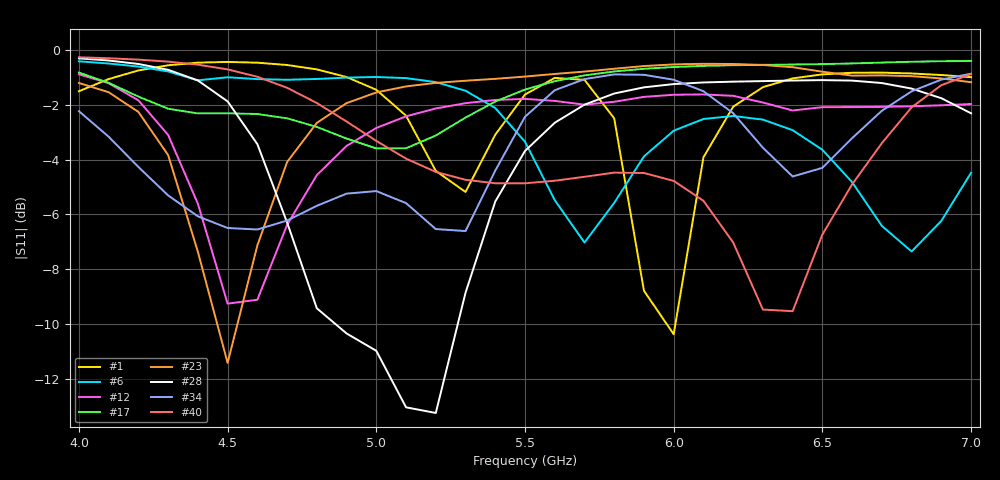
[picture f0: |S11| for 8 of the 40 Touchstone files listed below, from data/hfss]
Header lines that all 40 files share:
! Touchstone file exported from HFSS 2024.2.0
!  File:  C:/Users/wsak9/Desktop/Sim Fast/Widenad Patch/WP_AI_V1_sweep.aedt
!  Design:  A1_model
!  Project:  WP_AI_V1_sweep
!  Setup:  Setup1
!  Solution:  Sweep
! Variables:
!Data is not renormalized
# GHz S MA
! Terminal data exported
! Port[1] = 1
Fixed: Curve_len1 = 1, H_sub = 0.79mm
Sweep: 4 GHz to 7 GHz
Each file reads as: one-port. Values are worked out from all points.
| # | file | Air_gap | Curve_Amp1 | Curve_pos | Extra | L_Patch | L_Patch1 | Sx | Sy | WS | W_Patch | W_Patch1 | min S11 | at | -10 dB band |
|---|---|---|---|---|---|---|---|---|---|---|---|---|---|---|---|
| 1 | run_0400.s1p | 4.28mm | 3.7 | 10.655mm | 7.95mm | 17.31mm | 21.82mm | 1.85mm | 2.02mm | 0.65mm | 10.49mm | 13.87mm | -10.4 dB | 6 GHz | 29.96 MHz wide |
| 2 | run_0401.s1p | 4.55mm | 1.96 | 10.075mm | 5.61mm | 16.15mm | 22.6mm | 0.21mm | 4.82mm | 1.16mm | 10.58mm | 16.99mm | -5.1 dB | 6.7 GHz | - |
| 3 | run_0402.s1p | 4.89mm | 3.63 | 9.765mm | 3.64mm | 15.53mm | 18.93mm | 4.39mm | 1.09mm | 0.66mm | 14.76mm | 15.29mm | -22.0 dB | 6.3 GHz | 126.6 MHz wide |
| 4 | run_0403.s1p | 3.5mm | 2.92 | 13.34mm | 2.49mm | 22.68mm | 15.3mm | 1.49mm | 0.68mm | 1.29mm | 14.07mm | 12.81mm | -11.0 dB | 4.2 GHz | 60.45 MHz wide |
| 5 | run_0404.s1p | 2.01mm | 2.82 | 10.82mm | 7.4mm | 17.64mm | 17.67mm | 4.07mm | 3.26mm | 1.24mm | 12.2mm | 10.27mm | -14.2 dB | 5.3 GHz | 323.6 MHz wide |
| 6 | run_0405.s1p | 2.99mm | 2.9 | 10.035mm | 0.69mm | 16.07mm | 10.41mm | 2.39mm | 1.05mm | 1.13mm | 22mm | 9.72mm | -7.4 dB | 6.8 GHz | - |
| 7 | run_0406.s1p | 4.58mm | 0.92 | 11.82mm | 1.58mm | 19.64mm | 18.34mm | 3.25mm | 2.51mm | 0.82mm | 18.11mm | 16.76mm | -9.7 dB | 5 GHz | - |
| 8 | run_0407.s1p | 4.86mm | 1.11 | 9.72mm | 1.89mm | 15.44mm | 17.39mm | 0.54mm | 3.41mm | 0.91mm | 12.23mm | 15.5mm | -3.6 dB | 6.5 GHz | - |
| 9 | run_0408.s1p | 3.44mm | 0.59 | 12.07mm | 3.61mm | 20.14mm | 14.75mm | 0.51mm | 2.99mm | 1.38mm | 10.07mm | 11.14mm | -4.2 dB | 5.1 GHz | - |
| 10 | run_0409.s1p | 2.35mm | 2.62 | 11.17mm | 2.94mm | 18.34mm | 13.06mm | 3.39mm | 2.53mm | 0.55mm | 17.58mm | 10.12mm | -12.7 dB | 5.2 GHz | 192.1 MHz wide |
| 11 | run_0410.s1p | 3.92mm | 3.03 | 13.385mm | 4.71mm | 22.77mm | 16.18mm | 2.52mm | 0.28mm | 1.37mm | 19.47mm | 11.47mm | -17.5 dB | 4.1 GHz | 238 MHz wide |
| 12 | run_0411.s1p | 1.79mm | 1.35 | 12.14mm | 1.12mm | 20.28mm | 14.59mm | 0.25mm | 3.6mm | 1.49mm | 21.73mm | 13.47mm | -9.3 dB | 4.5 GHz | - |
| 13 | run_0412.s1p | 4.82mm | 0.88 | 10.23mm | 5.48mm | 16.46mm | 15.14mm | 1.39mm | 2.27mm | 0.28mm | 22.54mm | 9.66mm | -8.4 dB | 6.2 GHz | - |
| 14 | run_0413.s1p | 1.53mm | 2.55 | 10.92mm | 1.69mm | 17.84mm | 17.25mm | 3.3mm | 0.51mm | 1.08mm | 18.01mm | 15.56mm | -12.3 dB | 5.9 GHz | 99.79 MHz wide |
| 15 | run_0414.s1p | 2.41mm | 0.82 | 10.44mm | 3.24mm | 16.88mm | 11.89mm | 1.24mm | 2.05mm | 0.54mm | 11.19mm | 8.65mm | -9.4 dB | 5.9 GHz | - |
| 16 | run_0415.s1p | 3.91mm | 3.62 | 11.02mm | 5.34mm | 18.04mm | 21.87mm | 1.19mm | 3.17mm | 0.48mm | 12.57mm | 16.53mm | -8.3 dB | 5.3 GHz | - |
| 17 | run_0416.s1p | 1.66mm | 1.08 | 12.41mm | 3.06mm | 20.82mm | 12.71mm | 1.52mm | 0.56mm | 0.3mm | 10.61mm | 9.65mm | -3.6 dB | 5 GHz | - |
| 18 | run_0417.s1p | 2.54mm | 3.83 | 12.475mm | 1.34mm | 20.95mm | 12.65mm | 1.67mm | 0.96mm | 0.84mm | 20.18mm | 11.31mm | -14.4 dB | 4.5 GHz | 85.1 MHz wide |
| 19 | run_0418.s1p | 3.96mm | 0.93 | 10.55mm | 4.87mm | 17.1mm | 14.38mm | 4.93mm | 2.47mm | 1.07mm | 15.32mm | 9.51mm | -16.0 dB | 5.9 GHz | 501.5 MHz wide |
| 20 | run_0419.s1p | 3.78mm | 2.5 | 11.98mm | 7.63mm | 19.96mm | 16.91mm | 1.79mm | 3.42mm | 0.7mm | 22.05mm | 9.28mm | -7.4 dB | 4.5 GHz | - |
| 21 | run_0420.s1p | 1.65mm | 2.67 | 10.095mm | 5.97mm | 16.19mm | 22.94mm | 4.12mm | 2.85mm | 0.34mm | 17.88mm | 16.97mm | -6.3 dB | 5.8 GHz | - |
| 22 | run_0421.s1p | 4.13mm | 1.14 | 13.24mm | 5.92mm | 22.48mm | 21.45mm | 2.53mm | 1.29mm | 0.78mm | 19.46mm | 15.53mm | -11.6 dB | 4.5 GHz | 201.8 MHz wide |
| 23 | run_0422.s1p | 2.16mm | 1.57 | 13.18mm | 2.91mm | 22.36mm | 16.49mm | 2.36mm | 1.56mm | 0.4mm | 10.28mm | 13.58mm | -11.4 dB | 4.5 GHz | 68.46 MHz wide |
| 24 | run_0423.s1p | 1.78mm | 2.44 | 9.645mm | 7.42mm | 15.29mm | 21.35mm | 3.21mm | 2.12mm | 0.82mm | 15.64mm | 13.93mm | -9.8 dB | 6.3 GHz | - |
| 25 | run_0424.s1p | 2.49mm | 3.78 | 9.665mm | 3.46mm | 15.33mm | 17.69mm | 3.39mm | 4.92mm | 0.32mm | 22.08mm | 14.23mm | -7.4 dB | 5.3 GHz | - |
| 26 | run_0425.s1p | 4.44mm | 1.37 | 10.305mm | 1.63mm | 16.61mm | 18.23mm | 0.5mm | 2.4mm | 0.49mm | 12.54mm | 16.6mm | -10.8 dB | 6 GHz | 28.13 MHz wide |
| 27 | run_0426.s1p | 2.22mm | 1.02 | 11.575mm | 3.91mm | 19.15mm | 20.13mm | 2.7mm | 3.64mm | 0.22mm | 17.74mm | 16.22mm | -12.8 dB | 4.6 GHz | 352.3 MHz wide |
| 28 | run_0427.s1p | 2.95mm | 2.65 | 11.295mm | 3.15mm | 18.59mm | 12.84mm | 1.23mm | 0.91mm | 0.69mm | 16.37mm | 9.69mm | -13.3 dB | 5.2 GHz | 412.5 MHz wide |
| 29 | run_0428.s1p | 2.87mm | 0.94 | 11.775mm | 6.03mm | 19.55mm | 14.08mm | 2.13mm | 1.07mm | 0.96mm | 21.01mm | 8.05mm | -10.9 dB | 4.8 GHz | 156.1 MHz wide |
| 30 | run_0429.s1p | 3.77mm | 2.2 | 11.225mm | 4.29mm | 18.45mm | 16.73mm | 3.76mm | 4.3mm | 0.54mm | 20.67mm | 12.44mm | -5.8 dB | 5.7 GHz | - |
| 31 | run_0430.s1p | 2.23mm | 3.78 | 11.33mm | 2.97mm | 18.66mm | 19.64mm | 2.22mm | 1.8mm | 1.42mm | 12.78mm | 16.67mm | -24.3 dB | 5.2 GHz | 217.3 MHz wide |
| 32 | run_0431.s1p | 2.18mm | 3.37 | 11.43mm | 3.38mm | 18.86mm | 16.96mm | 0.83mm | 0.57mm | 0.49mm | 10.87mm | 13.58mm | -11.9 dB | 6.2 GHz | 177.3 MHz wide |
| 33 | run_0432.s1p | 1.54mm | 1.93 | 11.795mm | 4.14mm | 19.59mm | 19.28mm | 4.84mm | 2.9mm | 0.54mm | 22.71mm | 15.14mm | -3.6 dB | 4.4 GHz | - |
| 34 | run_0433.s1p | 3.81mm | 3.2 | 11.53mm | 2.53mm | 19.06mm | 18.87mm | 0.6mm | 4.72mm | 1.16mm | 19.36mm | 16.34mm | -6.6 dB | 5.3 GHz | - |
| 35 | run_0434.s1p | 2.47mm | 2.49 | 11.91mm | 2.08mm | 19.82mm | 16.73mm | 4.13mm | 2.87mm | 0.91mm | 10.24mm | 14.65mm | -9.5 dB | 4.7 GHz | - |
| 36 | run_0435.s1p | 2.97mm | 0.97 | 12.17mm | 2.87mm | 20.34mm | 14.59mm | 2.14mm | 1.43mm | 0.43mm | 16.59mm | 11.72mm | -8.4 dB | 4.5 GHz | - |
| 37 | run_0436.s1p | 4.77mm | 1.4 | 9.92mm | 2.34mm | 15.84mm | 13.85mm | 1.17mm | 4.13mm | 0.57mm | 13.08mm | 11.51mm | -11.4 dB | 6.2 GHz | 102.4 MHz wide |
| 38 | run_0437.s1p | 3.53mm | 3.96 | 12.54mm | 2.33mm | 21.08mm | 12.12mm | 0.45mm | 4mm | 0.71mm | 15.84mm | 9.79mm | -25.6 dB | 4.5 GHz | 143.1 MHz wide |
| 39 | run_0438.s1p | 4.41mm | 3.41 | 13.145mm | 7.65mm | 22.29mm | 16.04mm | 0.64mm | 0.33mm | 0.72mm | 15.13mm | 8.39mm | -20.2 dB | 4.3 GHz | 271.2 MHz wide |
| 40 | run_0439.s1p | 2.82mm | 0.64 | 9.94mm | 1.3mm | 15.88mm | 17.92mm | 0.96mm | 3.53mm | 0.38mm | 17.67mm | 16.62mm | -9.5 dB | 6.4 GHz | - |
